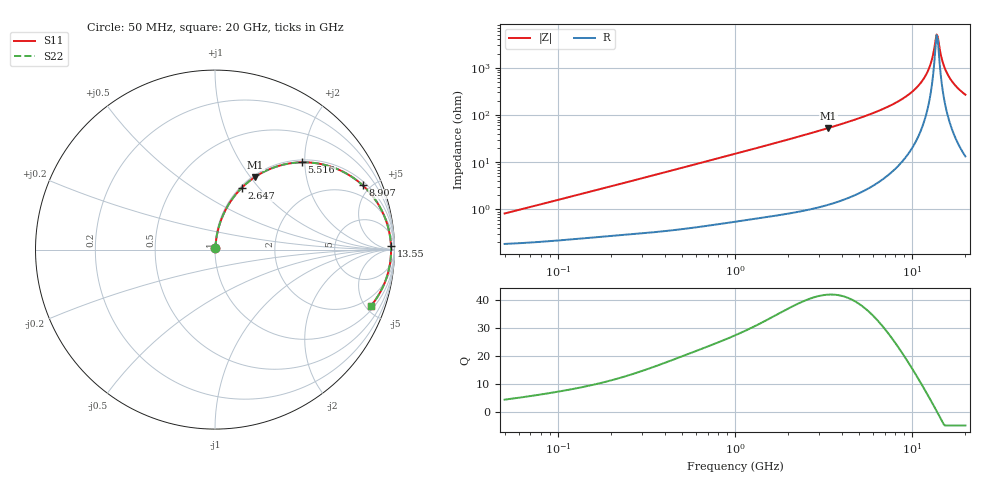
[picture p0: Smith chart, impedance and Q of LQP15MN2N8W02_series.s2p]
!Murata Part Number: LQP15MN2N8W02
!These Parameters are Measured in Series Mode Connection
!  o--[Z]--o
!Port1  Port2
!  o-------o
!Freq. Start=50[MHz] Stop=20[GHz], 401[Steps]
# Hz S RI R 50
!Freq.(Hz) S11(Real) S11(Imag) S21(Real) S21(Imag) S12(Real) S12(Imag) S22(Real) S22(Imag)
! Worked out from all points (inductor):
!   401 points, 50 MHz to 20 GHz, reference 50 ohm
!   read as one part in series: L = 2.54 nH near 51.52 MHz
!   highest Q = 42.1 at 3.364 GHz (marker M1), where L = 2.5 nH
!   self-resonance near 13.75 GHz
!   S11 on the Smith chart (normalised r, x): 50 MHz: 1.00, +0.02; 2.647 GHz: 1.02, +0.81; 5.516 GHz: 1.05, +1.94; 8.907 GHz: 1.22, +4.49; 13.55 GHz: 53, +52; 20 GHz: 1.27, -5.37
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5e7  0.00193 0.00798  0.9981 -0.00798  0.9981 -0.00798  0.00193 0.00798
1.364002e8  0.00288 0.0212  0.9971 -0.0212  0.9971 -0.0212  0.00288 0.0212
3.721004e8  0.00655 0.0562  0.9935 -0.0562  0.9935 -0.0562  0.00655 0.0562
1e9  0.0273 0.1457  0.9727 -0.1457  0.9727 -0.1457  0.0273 0.1457
1.740566e9  0.0707 0.2425  0.9293 -0.2425  0.9293 -0.2425  0.0707 0.2425
2.647493e9  0.1482 0.3432  0.8518 -0.3432  0.8518 -0.3432  0.1482 0.3432
2.728004e9  0.1562 0.351  0.8438 -0.351  0.8438 -0.351  0.1562 0.351
3.364474e9  0.2241 0.4053  0.7759 -0.4053  0.7759 -0.4053  0.2241 0.4053
5.515528e9  0.4847 0.4864  0.5153 -0.4864  0.5153 -0.4864  0.4847 0.4864
7.442007e9  0.6989 0.441  0.3011 -0.441  0.3011 -0.441  0.6989 0.441
8.907419e9  0.8232 0.3579  0.1768 -0.3579  0.1768 -0.3579  0.8232 0.3579
1.050288e10  0.9149 0.2439  0.0851 -0.2439  0.0851 -0.2439  0.9149 0.2439
1.183995e10  0.9593 0.1428  0.0407 -0.1428  0.0407 -0.1428  0.9593 0.1428
1.276073e10  0.9751 0.0745  0.0249 -0.0745  0.0249 -0.0745  0.9751 0.0745
1.354865e10  0.9807 0.0183  0.0193 -0.0183  0.0193 -0.0183  0.9807 0.0183
1.375312e10  0.9811 0.00419  0.0189 -0.00419  0.0189 -0.00419  0.9811 0.00419
1.396067e10  0.9811 -0.00995  0.0189 0.00995  0.0189 0.00995  0.9811 -0.00995
1.417136e10  0.9806 -0.0241  0.0194 0.0241  0.0194 0.0241  0.9806 -0.0241
1.504638e10  0.9748 -0.0802  0.0252 0.0802  0.0252 0.0802  0.9748 -0.0802
1.621653e10  0.9585 -0.1486  0.0415 0.1486  0.0415 0.1486  0.9585 -0.1486
1.774144e10  0.9268 -0.2256  0.0732 0.2256  0.0732 0.2256  0.9268 -0.2256
2e10  0.8668 -0.316  0.1332 0.316  0.1332 0.316  0.8668 -0.316
